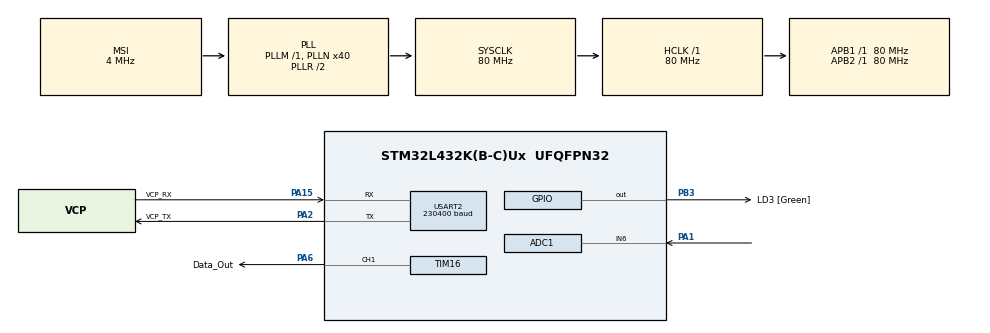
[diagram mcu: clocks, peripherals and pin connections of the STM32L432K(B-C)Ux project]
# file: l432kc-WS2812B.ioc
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Mcu.Family=STM32L4
RCC.CortexFreq_Value=80000000
Dma.ADC1.1.MemDataAlignment=DMA_MDATAALIGN_HALFWORD
NVIC.TIM6_DAC_IRQn=true\:1\:0\:true\:true\:true\:3\:true\:true
Dma.TIM16_CH1/UP.0.Instance=DMA1_Channel3
PA0.GPIO_Label=MCO [High speed clock in]
PA6.GPIO_Label=Data_Out
PA15\ (JTDI).Signal=USART2_RX
RCC.SYSCLKSource=RCC_SYSCLKSOURCE_PLLCLK
ProjectManager.StackSize=0x400
PB3\ (JTDO-TRACESWO).Signal=GPIO_Output
NVIC.DMA1_Channel3_IRQn=true\:0\:0\:false\:true\:true\:2\:false\:true
PA14\ (JTCK-SWCLK).Signal=SYS_JTCK-SWCLK
VP_TIM7_VS_ClockSourceINT.Mode=Enable_Timer
PA15\ (JTDI).Mode=Asynchronous
Dma.ADC1.1.Instance=DMA1_Channel1
RCC.HCLKFreq_Value=80000000
RCC.APB2TimFreq_Value=80000000
Dma.ADC1.1.PeriphDataAlignment=DMA_PDATAALIGN_HALFWORD
TIM7.Period=15999
RCC.AHBFreq_Value=80000000
RCC.HSE_VALUE=8000000
USART2.VirtualMode-Asynchronous=VM_ASYNC
RCC.PLLMUL=RCC_PLLMUL_4
PA6.GPIO_PuPd=GPIO_PULLDOWN
Dma.ADC1.1.Priority=DMA_PRIORITY_LOW
Dma.ADC1.1.Mode=DMA_CIRCULAR
TIM6.Period=7999
TIM7.TIM_MasterOutputTrigger=TIM_TRGO_UPDATE
TIM16.Pulse=10
PA0.Signal=RCC_CK_IN
Dma.TIM16_CH1/UP.0.PeriphDataAlignment=DMA_PDATAALIGN_WORD
Dma.TIM16_CH1/UP.0.Priority=DMA_PRIORITY_MEDIUM
Mcu.Package=UFQFPN32
TIM2.Prescaler=1
PA6.Signal=S_TIM16_CH1
ADC1.OversamplingMode=DISABLE
Dma.ADC1.1.Direction=DMA_PERIPH_TO_MEMORY
PA2.GPIO_Label=VCP_TX
Dma.ADC1.1.MemInc=DMA_MINC_ENABLE
ADC1.OffsetNumber-1\#ChannelRegularConversion=ADC_OFFSET_NONE
TIM7.AutoReloadPreload=TIM_AUTORELOAD_PRELOAD_ENABLE
TIM2.TIM_MasterOutputTrigger=TIM_TRGO_UPDATE
TIM16.AutoReloadPreload=TIM_AUTORELOAD_PRELOAD_ENABLE
Dma.Request1=ADC1
RCC.APB1TimFreq_Value=80000000
PA6.GPIO_Speed=GPIO_SPEED_FREQ_MEDIUM
PA13\ (JTMS-SWDIO).Signal=SYS_JTMS-SWDIO
Dma.TIM16_CH1/UP.0.Direction=DMA_MEMORY_TO_PERIPH
Dma.Request0=TIM16_CH1/UP
NVIC.TIM7_IRQn=true\:1\:0\:true\:true\:true\:4\:true\:true
RCC.HSI48_VALUE=48000000
RCC.PLLSAI1N=16
RCC.MSI_VALUE=4000000
PA14\ (JTCK-SWCLK).Mode=Serial_Wire
Dma.TIM16_CH1/UP.0.MemDataAlignment=DMA_MDATAALIGN_BYTE
SH.ADCx_IN6.0=ADC1_IN6,IN6-Single-Ended
TIM6.Prescaler=9
VP_TIM6_VS_ClockSourceINT.Mode=Enable_Timer
SH.S_TIM16_CH1.0=TIM16_CH1,PWM Generation1 CH1
VP_TIM16_VS_ClockSourceINT.Mode=Enable_Timer
PC15-OSC32_OUT\ (PC15).Signal=RCC_OSC32_OUT
PA14\ (JTCK-SWCLK).GPIO_Label=SWCLK
PB3\ (JTDO-TRACESWO).GPIO_Label=LD3 [Green]
VP_RNG_VS_RNG.Mode=RNG_Activate
TIM16.Channel=TIM_CHANNEL_1
USART2.BaudRate=230400
RCC.HSI16_VALUE=16000000
TIM6.AutoReloadPreload=TIM_AUTORELOAD_PRELOAD_ENABLE
ProjectManager.TargetToolchain=STM32CubeIDE
ADC1.Channel-1\#ChannelRegularConversion=ADC_CHANNEL_6
RCC.USBFreq_Value=32000000
RCC.LSE_VALUE=32768
PA1.Signal=ADCx_IN6
TIM7.Prescaler=39999
board=NUCLEO-L432KC
RCC.VCOOutputFreq_Value=160000000
TIM16.Period=90
RCC.APB2Freq_Value=80000000
PA13\ (JTMS-SWDIO).GPIO_Label=SWDIO
VP_TIM2_VS_ClockSourceINT.Mode=Internal
Dma.TIM16_CH1/UP.0.Mode=DMA_NORMAL
RCC.ADCFreq_Value=32000000
Dma.ADC1.1.PeriphInc=DMA_PINC_DISABLE
ADC1.DMAContinuousRequests=ENABLE
TIM2.Period=1999
ADC1.NbrOfConversion=1
PA15\ (JTDI).GPIO_Label=VCP_RX
Mcu.Name=STM32L432K(B-C)Ux
PA2.Signal=USART2_TX
ADC1.ExternalTrigConv=ADC_EXTERNALTRIG_T2_TRGO
PA13\ (JTMS-SWDIO).Mode=Serial_Wire
ADC1.SamplingTime-1\#ChannelRegularConversion=ADC_SAMPLETIME_92CYCLES_5
RCC.SYSCLKFreq_VALUE=80000000
ADC1.master=1
PC14-OSC32_IN\ (PC14).Signal=RCC_OSC32_IN
ADC1.Rank-1\#ChannelRegularConversion=1
Dma.TIM16_CH1/UP.0.MemInc=DMA_MINC_ENABLE
ProjectManager.HeapSize=0x200
RCC.HSI_VALUE=16000000
NVIC.PriorityGroup=NVIC_PRIORITYGROUP_4
ADC1.NbrOfConversionFlag=1
RCC.PLLN=40
TIM2.TIM_MasterSlaveMode=TIM_MASTERSLAVEMODE_ENABLE
PA2.Mode=Asynchronous
TIM2.AutoReloadPreload=TIM_AUTORELOAD_PRELOAD_ENABLE
NVIC.DMA1_Channel1_IRQn=true\:0\:0\:false\:true\:true\:1\:false\:true
RCC.APB1Freq_Value=80000000
ADC1.ClockPrescaler=ADC_CLOCK_SYNC_PCLK_DIV1
Dma.TIM16_CH1/UP.0.PeriphInc=DMA_PINC_DISABLE

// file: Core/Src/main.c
/* USER CODE BEGIN Header */
/**
 ******************************************************************************
 * @file           : main.c
 * @brief          : Main program body
 ******************************************************************************
 * @attention
 *
 * <h2><center>&copy; Copyright (c) 2021 STMicroelectronics.
 * All rights reserved.</center></h2>
 *
 * This software component is licensed by ST under BSD 3-Clause license,
 * the "License"; You may not use this file except in compliance with the
 * License. You may obtain a copy of the License at:
 *                        opensource.org/licenses/BSD-3-Clause
 *
 ******************************************************************************
 */
#define ARM_MATH_CM4
/* USER CODE END Header */
#include "main.h"

/* USER CODE BEGIN Includes */
#include <math.h>
#include "arm_math.h"
#include <stdio.h>
#include "defines.h"
/* USER CODE END Includes */

/* USER CODE BEGIN PD */

struct gaussian {
	int x_pos;
	int y_pos;
	uint8_t max_value;
	float t;
	float sigma;
};

/* USER CODE END PD */

ADC_HandleTypeDef hadc1;
DMA_HandleTypeDef hdma_adc1;

RNG_HandleTypeDef hrng;

TIM_HandleTypeDef htim2;
TIM_HandleTypeDef htim6;
TIM_HandleTypeDef htim7;
TIM_HandleTypeDef htim16;
DMA_HandleTypeDef hdma_tim16_ch1_up;

UART_HandleTypeDef huart2;

/* USER CODE BEGIN PV */
UART_HandleTypeDef *gHuart;

uint8_t animation_counter = 0;
uint8_t switch_flag = 0;
uint8_t adc_dma_cmplt = 0;
//uint_fast8_t rgb[nled][3] = { 0 }; //RGB frame buffer

uint32_t uwTimerPeriod = 0;
uint32_t data_freq = 800000; //frequency is 800kHz

int16_t mic_buffer[ADC_BUF_SIZE] = { 0 };
extern float f32_blackman_harris_window_512[512];
extern float f32_blackman_window_512[512];
extern float f32_hann_window_512[512];
//arm_rfft_fast_instance_f32
arm_rfft_fast_instance_f32 fft_handler;
float32_t fft_in_buf[ADC_BUF_SIZE] = { 0 };
float32_t fft_out_buf[ADC_BUF_SIZE] = { 0 };
float32_t fft_mag_dB[ADC_BUF_SIZE / 2] = { 0 };

uint8_t window = 1;

uint8_t noise_compensation = 0;
uint16_t volume = 0;
uint8_t volume_event = 0;
uint8_t bass_detection = 0;
uint8_t hysteresis = 0;

long timer = 0;

/* USER CODE END PV */

void SystemClock_Config(void);
static void MX_GPIO_Init(void);
static void MX_DMA_Init(void);
static void MX_TIM16_Init(void);
static void MX_USART2_UART_Init(void);
static void MX_RNG_Init(void);
static void MX_TIM7_Init(void);
static void MX_ADC1_Init(void);
static void MX_TIM2_Init(void);
static void MX_TIM6_Init(void);
static void MX_NVIC_Init(void);
/* USER CODE BEGIN PFP */
void App();

/* USER CODE END PFP */

int main(void) {

	/* MCU Configuration--------------------------------------------------------*/

	/* Reset of all peripherals, Initializes the Flash interface and the Systick. */
	HAL_Init();

	/* Configure the system clock */
	SystemClock_Config();

	/* USER CODE BEGIN SysInit */
	uwTimerPeriod = (uint32_t) ((SystemCoreClock / data_freq) - 1);

	/* USER CODE END SysInit */

	/* Initialize all configured peripherals */
	MX_GPIO_Init();
	MX_DMA_Init();
	MX_TIM16_Init();
	MX_USART2_UART_Init();
	MX_RNG_Init();
	MX_TIM7_Init();
	MX_ADC1_Init();
	MX_TIM2_Init();
	MX_TIM6_Init();

	/* Initialize interrupts */
	MX_NVIC_Init();
	/* USER CODE BEGIN 2 */
	App();
	/* USER CODE END 2 */

	/* Infinite loop */
	while (1) {

	}
}

void SystemClock_Config(void) {
	RCC_OscInitTypeDef RCC_OscInitStruct = { 0 };
	RCC_ClkInitTypeDef RCC_ClkInitStruct = { 0 };
	RCC_PeriphCLKInitTypeDef PeriphClkInit = { 0 };

	/** Initializes the RCC Oscillators according to the specified parameters
	 * in the RCC_OscInitTypeDef structure.
	 */
	RCC_OscInitStruct.OscillatorType = RCC_OSCILLATORTYPE_MSI;
	RCC_OscInitStruct.MSIState = RCC_MSI_ON;
	RCC_OscInitStruct.MSICalibrationValue = 0;
	RCC_OscInitStruct.MSIClockRange = RCC_MSIRANGE_6;
	RCC_OscInitStruct.PLL.PLLState = RCC_PLL_ON;
	RCC_OscInitStruct.PLL.PLLSource = RCC_PLLSOURCE_MSI;
	RCC_OscInitStruct.PLL.PLLM = 1;
	RCC_OscInitStruct.PLL.PLLN = 40;
	RCC_OscInitStruct.PLL.PLLP = RCC_PLLP_DIV7;
	RCC_OscInitStruct.PLL.PLLQ = RCC_PLLQ_DIV2;
	RCC_OscInitStruct.PLL.PLLR = RCC_PLLR_DIV2;
	if (HAL_RCC_OscConfig(&RCC_OscInitStruct) != HAL_OK) {
		Error_Handler();
	}
	/** Initializes the CPU, AHB and APB buses clocks
	 */
	RCC_ClkInitStruct.ClockType = RCC_CLOCKTYPE_HCLK | RCC_CLOCKTYPE_SYSCLK
			| RCC_CLOCKTYPE_PCLK1 | RCC_CLOCKTYPE_PCLK2;
	RCC_ClkInitStruct.SYSCLKSource = RCC_SYSCLKSOURCE_PLLCLK;
	RCC_ClkInitStruct.AHBCLKDivider = RCC_SYSCLK_DIV1;
	RCC_ClkInitStruct.APB1CLKDivider = RCC_HCLK_DIV1;
	RCC_ClkInitStruct.APB2CLKDivider = RCC_HCLK_DIV1;

	if (HAL_RCC_ClockConfig(&RCC_ClkInitStruct, FLASH_LATENCY_4) != HAL_OK) {
		Error_Handler();
	}
	PeriphClkInit.PeriphClockSelection = RCC_PERIPHCLK_USART2
			| RCC_PERIPHCLK_RNG | RCC_PERIPHCLK_ADC;
	PeriphClkInit.Usart2ClockSelection = RCC_USART2CLKSOURCE_PCLK1;
	PeriphClkInit.AdcClockSelection = RCC_ADCCLKSOURCE_PLLSAI1;
	PeriphClkInit.RngClockSelection = RCC_RNGCLKSOURCE_PLLSAI1;
	PeriphClkInit.PLLSAI1.PLLSAI1Source = RCC_PLLSOURCE_MSI;
	PeriphClkInit.PLLSAI1.PLLSAI1M = 1;
	PeriphClkInit.PLLSAI1.PLLSAI1N = 16;
	PeriphClkInit.PLLSAI1.PLLSAI1P = RCC_PLLP_DIV7;
	PeriphClkInit.PLLSAI1.PLLSAI1Q = RCC_PLLQ_DIV2;
	PeriphClkInit.PLLSAI1.PLLSAI1R = RCC_PLLR_DIV2;
	PeriphClkInit.PLLSAI1.PLLSAI1ClockOut = RCC_PLLSAI1_48M2CLK
			| RCC_PLLSAI1_ADC1CLK;
	if (HAL_RCCEx_PeriphCLKConfig(&PeriphClkInit) != HAL_OK) {
		Error_Handler();
	}
	/** Configure the main internal regulator output voltage
	 */
	if (HAL_PWREx_ControlVoltageScaling(PWR_REGULATOR_VOLTAGE_SCALE1)
			!= HAL_OK) {
		Error_Handler();
	}
}

/**
 * @brief NVIC Configuration.
 * @retval None
 */
static void MX_NVIC_Init(void) {
	/* DMA1_Channel1_IRQn interrupt configuration */
	HAL_NVIC_SetPriority(DMA1_Channel1_IRQn, 0, 0);
	HAL_NVIC_EnableIRQ(DMA1_Channel1_IRQn);
	/* DMA1_Channel3_IRQn interrupt configuration */
	HAL_NVIC_SetPriority(DMA1_Channel3_IRQn, 0, 0);
	HAL_NVIC_EnableIRQ(DMA1_Channel3_IRQn);
	/* TIM6_DAC_IRQn interrupt configuration */
	HAL_NVIC_SetPriority(TIM6_DAC_IRQn, 1, 0);
	HAL_NVIC_EnableIRQ(TIM6_DAC_IRQn);
	/* TIM7_IRQn interrupt configuration */
	HAL_NVIC_SetPriority(TIM7_IRQn, 1, 0);
	HAL_NVIC_EnableIRQ(TIM7_IRQn);
}

static void MX_ADC1_Init(void) {

	ADC_ChannelConfTypeDef sConfig = { 0 };

	/** Common config
	 */
	hadc1.Instance = ADC1;
	hadc1.Init.ClockPrescaler = ADC_CLOCK_SYNC_PCLK_DIV1;
	hadc1.Init.Resolution = ADC_RESOLUTION_12B;
	hadc1.Init.DataAlign = ADC_DATAALIGN_RIGHT;
	hadc1.Init.ScanConvMode = ADC_SCAN_DISABLE;
	hadc1.Init.EOCSelection = ADC_EOC_SINGLE_CONV;
	hadc1.Init.LowPowerAutoWait = DISABLE;
	hadc1.Init.ContinuousConvMode = DISABLE;
	hadc1.Init.NbrOfConversion = 1;
	hadc1.Init.DiscontinuousConvMode = DISABLE;
	hadc1.Init.ExternalTrigConv = ADC_EXTERNALTRIG_T2_TRGO;
	hadc1.Init.ExternalTrigConvEdge = ADC_EXTERNALTRIGCONVEDGE_RISING;
	hadc1.Init.DMAContinuousRequests = ENABLE;
	hadc1.Init.Overrun = ADC_OVR_DATA_PRESERVED;
	hadc1.Init.OversamplingMode = DISABLE;
	if (HAL_ADC_Init(&hadc1) != HAL_OK) {
		Error_Handler();
	}
	/** Configure Regular Channel
	 */
	sConfig.Channel = ADC_CHANNEL_6;
	sConfig.Rank = ADC_REGULAR_RANK_1;
	sConfig.SamplingTime = ADC_SAMPLETIME_92CYCLES_5;
	sConfig.SingleDiff = ADC_SINGLE_ENDED;
	sConfig.OffsetNumber = ADC_OFFSET_NONE;
	sConfig.Offset = 0;
	if (HAL_ADC_ConfigChannel(&hadc1, &sConfig) != HAL_OK) {
		Error_Handler();
	}

}

static void MX_RNG_Init(void) {

	hrng.Instance = RNG;
	if (HAL_RNG_Init(&hrng) != HAL_OK) {
		Error_Handler();
	}

}

static void MX_TIM2_Init(void) {

	TIM_ClockConfigTypeDef sClockSourceConfig = { 0 };
	TIM_MasterConfigTypeDef sMasterConfig = { 0 };

	htim2.Instance = TIM2;
	htim2.Init.Prescaler = 1;
	htim2.Init.CounterMode = TIM_COUNTERMODE_UP;
	htim2.Init.Period = 1999;
	htim2.Init.ClockDivision = TIM_CLOCKDIVISION_DIV1;
	htim2.Init.AutoReloadPreload = TIM_AUTORELOAD_PRELOAD_ENABLE;
	if (HAL_TIM_Base_Init(&htim2) != HAL_OK) {
		Error_Handler();
	}
	sClockSourceConfig.ClockSource = TIM_CLOCKSOURCE_INTERNAL;
	if (HAL_TIM_ConfigClockSource(&htim2, &sClockSourceConfig) != HAL_OK) {
		Error_Handler();
	}
	sMasterConfig.MasterOutputTrigger = TIM_TRGO_UPDATE;
	sMasterConfig.MasterSlaveMode = TIM_MASTERSLAVEMODE_ENABLE;
	if (HAL_TIMEx_MasterConfigSynchronization(&htim2, &sMasterConfig)
			!= HAL_OK) {
		Error_Handler();
	}

}

static void MX_TIM6_Init(void) {

	TIM_MasterConfigTypeDef sMasterConfig = { 0 };

	htim6.Instance = TIM6;
	htim6.Init.Prescaler = 9;
	htim6.Init.CounterMode = TIM_COUNTERMODE_UP;
	htim6.Init.Period = 7999;
	htim6.Init.AutoReloadPreload = TIM_AUTORELOAD_PRELOAD_ENABLE;
	if (HAL_TIM_Base_Init(&htim6) != HAL_OK) {
		Error_Handler();
	}
	sMasterConfig.MasterOutputTrigger = TIM_TRGO_RESET;
	sMasterConfig.MasterSlaveMode = TIM_MASTERSLAVEMODE_DISABLE;
	if (HAL_TIMEx_MasterConfigSynchronization(&htim6, &sMasterConfig)
			!= HAL_OK) {
		Error_Handler();
	}

}

static void MX_TIM7_Init(void) {

	TIM_MasterConfigTypeDef sMasterConfig = { 0 };

	htim7.Instance = TIM7;
	htim7.Init.Prescaler = 39999;
	htim7.Init.CounterMode = TIM_COUNTERMODE_UP;
	htim7.Init.Period = 15999;
	htim7.Init.AutoReloadPreload = TIM_AUTORELOAD_PRELOAD_ENABLE;
	if (HAL_TIM_Base_Init(&htim7) != HAL_OK) {
		Error_Handler();
	}
	sMasterConfig.MasterOutputTrigger = TIM_TRGO_UPDATE;
	sMasterConfig.MasterSlaveMode = TIM_MASTERSLAVEMODE_DISABLE;
	if (HAL_TIMEx_MasterConfigSynchronization(&htim7, &sMasterConfig)
			!= HAL_OK) {
		Error_Handler();
	}

}

static void MX_TIM16_Init(void) {

	TIM_OC_InitTypeDef sConfigOC = { 0 };
	TIM_BreakDeadTimeConfigTypeDef sBreakDeadTimeConfig = { 0 };

	htim16.Instance = TIM16;
	htim16.Init.Prescaler = 0;
	htim16.Init.CounterMode = TIM_COUNTERMODE_UP;
	htim16.Init.Period = 90;
	htim16.Init.ClockDivision = TIM_CLOCKDIVISION_DIV1;
	htim16.Init.RepetitionCounter = 0;
	htim16.Init.AutoReloadPreload = TIM_AUTORELOAD_PRELOAD_ENABLE;
	if (HAL_TIM_Base_Init(&htim16) != HAL_OK) {
		Error_Handler();
	}
	if (HAL_TIM_PWM_Init(&htim16) != HAL_OK) {
		Error_Handler();
	}
	sConfigOC.OCMode = TIM_OCMODE_PWM1;
	sConfigOC.Pulse = 10;
	sConfigOC.OCPolarity = TIM_OCPOLARITY_HIGH;
	sConfigOC.OCNPolarity = TIM_OCNPOLARITY_HIGH;
	sConfigOC.OCFastMode = TIM_OCFAST_DISABLE;
	sConfigOC.OCIdleState = TIM_OCIDLESTATE_RESET;
	sConfigOC.OCNIdleState = TIM_OCNIDLESTATE_RESET;
	if (HAL_TIM_PWM_ConfigChannel(&htim16, &sConfigOC, TIM_CHANNEL_1)
			!= HAL_OK) {
		Error_Handler();
	}
	sBreakDeadTimeConfig.OffStateRunMode = TIM_OSSR_DISABLE;
	sBreakDeadTimeConfig.OffStateIDLEMode = TIM_OSSI_DISABLE;
	sBreakDeadTimeConfig.LockLevel = TIM_LOCKLEVEL_OFF;
	sBreakDeadTimeConfig.DeadTime = 0;
	sBreakDeadTimeConfig.BreakState = TIM_BREAK_DISABLE;
	sBreakDeadTimeConfig.BreakPolarity = TIM_BREAKPOLARITY_HIGH;
	sBreakDeadTimeConfig.AutomaticOutput = TIM_AUTOMATICOUTPUT_DISABLE;
	if (HAL_TIMEx_ConfigBreakDeadTime(&htim16, &sBreakDeadTimeConfig)
			!= HAL_OK) {
		Error_Handler();
	}
	HAL_TIM_MspPostInit(&htim16);
}

static void MX_USART2_UART_Init(void) {

	huart2.Instance = USART2;
	huart2.Init.BaudRate = 230400;
	huart2.Init.WordLength = UART_WORDLENGTH_8B;
	huart2.Init.StopBits = UART_STOPBITS_1;
	huart2.Init.Parity = UART_PARITY_NONE;
	huart2.Init.Mode = UART_MODE_TX_RX;
	huart2.Init.HwFlowCtl = UART_HWCONTROL_NONE;
	huart2.Init.OverSampling = UART_OVERSAMPLING_16;
	huart2.Init.OneBitSampling = UART_ONE_BIT_SAMPLE_DISABLE;
	huart2.AdvancedInit.AdvFeatureInit = UART_ADVFEATURE_NO_INIT;
	if (HAL_UART_Init(&huart2) != HAL_OK) {
		Error_Handler();
	}
}

static void MX_DMA_Init(void) {

	/* DMA controller clock enable */
	__HAL_RCC_DMA1_CLK_ENABLE();
}

static void MX_GPIO_Init(void) {
	GPIO_InitTypeDef GPIO_InitStruct = { 0 };

	/* GPIO Ports Clock Enable */
	__HAL_RCC_GPIOC_CLK_ENABLE();
	__HAL_RCC_GPIOA_CLK_ENABLE();
	__HAL_RCC_GPIOB_CLK_ENABLE();

	/*Configure GPIO pin Output Level */
	HAL_GPIO_WritePin(LD3_GPIO_Port, LD3_Pin, GPIO_PIN_RESET);

	/*Configure GPIO pin : LD3_Pin */
	GPIO_InitStruct.Pin = LD3_Pin;
	GPIO_InitStruct.Mode = GPIO_MODE_OUTPUT_PP;
	GPIO_InitStruct.Pull = GPIO_NOPULL;
	GPIO_InitStruct.Speed = GPIO_SPEED_FREQ_LOW;
	HAL_GPIO_Init(LD3_GPIO_Port, &GPIO_InitStruct);
}

/* USER CODE BEGIN 4 */

void HAL_ADC_ConvCpltCallback(ADC_HandleTypeDef *hadc) {
//	printf("%u \r\n",DWT->CYCCNT);
	if (HAL_TIM_Base_Stop(&htim2) != HAL_OK)
		Error_Handler();

	float32_t f32_mic_buffer[ADC_BUF_SIZE];

	GPIOB->ODR ^= 0b1000;
	volume = 0;
	uint32_t adc_avg = 0;

	arm_mean_q15((uint32_t*) mic_buffer, ADC_BUF_SIZE, &adc_avg);

	for (int i = 0; i < ADC_BUF_SIZE; i++)
		f32_mic_buffer[i] = (float32_t) mic_buffer[i] - adc_avg;

	if (__builtin_expect(window, 1))
		arm_mult_f32(f32_mic_buffer, f32_hann_window_512, fft_in_buf,
				ADC_BUF_SIZE);
	else
		for (int i = 0; i < ADC_BUF_SIZE; i++)
			fft_in_buf[i] = f32_mic_buffer[i];
	arm_rfft_fast_f32(&fft_handler, fft_in_buf, fft_out_buf, 0);
	arm_cmplx_mag_f32(fft_out_buf, fft_mag_dB, ADC_BUF_SIZE / 2);

	if (volume > 1900)
		volume_event = 1;
	TIM2->CNT = 0;

	adc_dma_cmplt = 1;

//	printf("%u \r\n",DWT->CYCCNT);
	if (HAL_TIM_Base_Start(&htim2) != HAL_OK)
		Error_Handler();
}

/* USER CODE END 4 */

void Error_Handler(void) {
	/* USER CODE BEGIN Error_Handler_Debug */
	/* User can add his own implementation to report the HAL error return state */
	GPIOB->ODR |= 0b1000;
	__disable_irq();
	while (1) {
	}
	/* USER CODE END Error_Handler_Debug */
}

/************************ (C) COPYRIGHT STMicroelectronics *****END OF FILE****/
